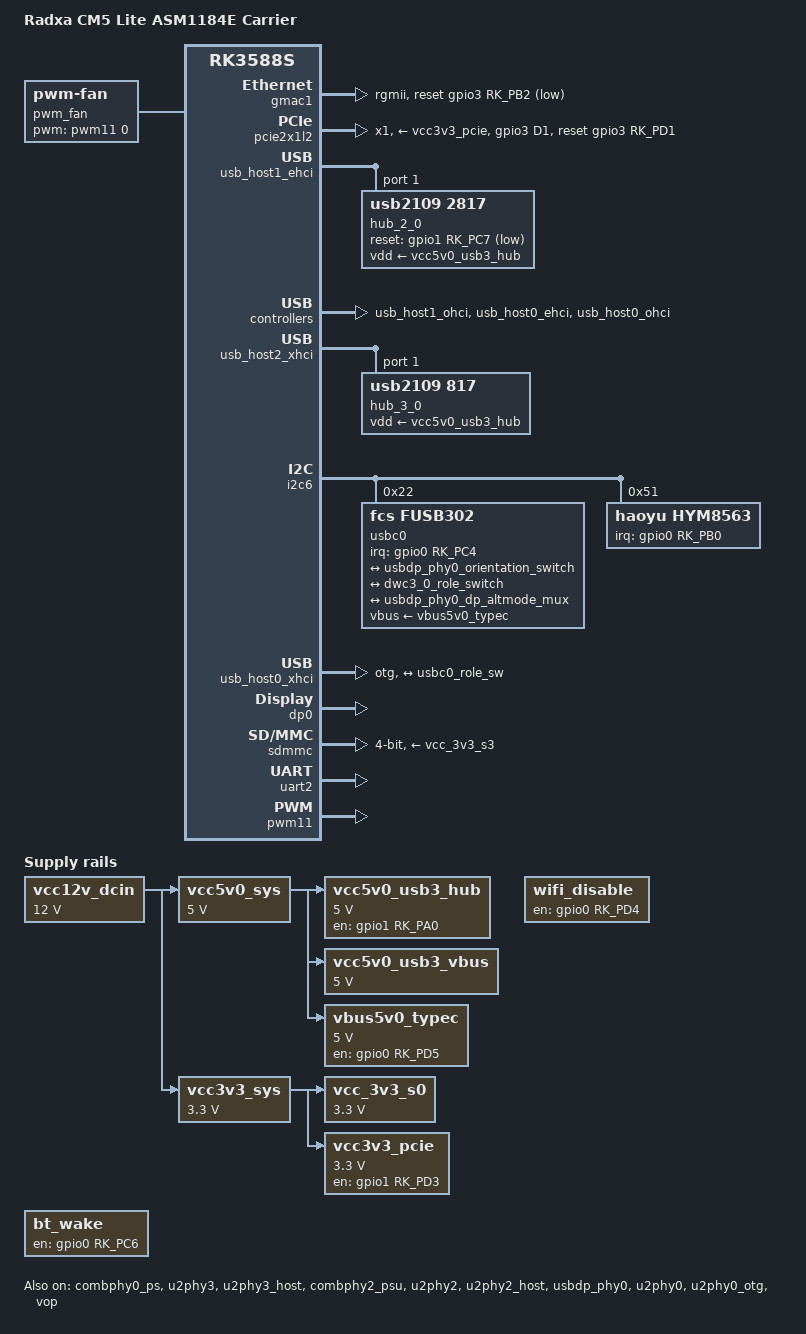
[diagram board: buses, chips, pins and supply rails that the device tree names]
// SPDX-License-Identifier: (GPL-2.0+ OR MIT)
/*
 * Radxa CM5 Lite (RK3582 / 4GB LPDDR4X / 32GB eMMC / onboard RTL8211F)
 * custom carrier board
 *
 * This variant targets mainline Linux 6.18 (ImmortalWrt) and therefore
 * uses the upstream label names, not the Radxa 6.1 BSP ones:
 *   - usb_host0_xhci    (was usbdrd3_0 / usbdrd_dwc3_0, USB3 OTG0)
 *   - usb_host2_xhci    (was usbhost3_0 / usbhost_dwc3_0, USB3 host1)
 *   - usb_host1_ehci/ohci (USB2 companion, u2phy3)
 *   - dp0_in / vp2_out_dp0 endpoints instead of the vendor route_dp0 node
 *
 *            +-------------------------------------------------------+
 *            |                    Radxa CM5 Lite                    |
 *            |  RK3582 (RK3588S pin-compatible)                      |
 *            +-------------------------------------------------------+
 *              |                |                    |
 *   GMAC1+RTL8211F      PCIe2.0 x1 (l2)      USB3 host1 (usb_host2_xhci)
 *              |                |                    |
 *            RJ45         ASM1184E (1:4)         VL817-Q7 (1:4)
 *                           /  |  |  \                 / | | \
 *                   8125B --+  |  |  +-- 8125B      USB3 x4
 *                              |  |
 *                     M.2 E-key  M.2 B-key
 *                       (Wi-Fi)    (5G)
 *
 *   USB3.0 OTG0 + USBDP PHY0  ->  Type-C (USB3 + DP alt-mode, FUSB302)
 *
 * Board inventory confirmed from the uploaded photos:
 *   - Radxa CM5 V2.2 module, RK3582 + SK hynix 4GB LPDDR4X, 32GB eMMC
 *   - 1x LPJG0926HENL MagJack (2.5G-rated, used by the onboard RTL8211F 1G)
 *   - 4x USB3 Type-A (VL817-Q7), 1x Type-C (TypeC1, USB3 + DP), no HDMI
 *   - 2x QG2439S LAN transformers + 2x RTL8125B, dual RJ45 on the 5G HAT
 *   - ROBOX_5GHAT 26B_V2: Fibocom FM160-CN (PCIe 5G) + MT7922 (PCIe Wi-Fi)
 *   - microSD slot, DC input silkscreen "DC7-24V"
 *
 * Notes:
 *   1. ASM1184E is a standard PCIe bridge. PCIe switches and the devices
 *      behind them are fully enumerable, therefore NO device tree node is
 *      required for the switch, the RTL8125B PHYs, the Wi-Fi or the 5G
 *      module. Only the upstream root complex (pcie2x1l2) is described.
 *   2. GPIO numbers below are a reference assignment copied from the Radxa
 *      CM5 IO design. They MUST be changed to match the real carrier
 *      schematic.
 *   3. Build (OpenWrt/ImmortalWrt): put this file and
 *      rk3588s-radxa-cm5.dtsi into
 *        target/linux/rockchip/files/arch/arm64/boot/dts/rockchip/
 *      and set DEVICE_DTS := rk3588s-radxa-cm5-lite-asm1184e
 *      in target/linux/rockchip/image/armv8.mk.
 */

/dts-v1/;

#include <dt-bindings/gpio/gpio.h>
#include <dt-bindings/interrupt-controller/irq.h>
#include <dt-bindings/pinctrl/rockchip.h>
#include <dt-bindings/soc/rockchip,vop2.h>
#include <dt-bindings/usb/pd.h>
#include "rk3588s.dtsi"
#include "rk3588s-radxa-cm5.dtsi"

/ {
	model = "Radxa CM5 Lite ASM1184E Carrier";
	compatible = "radxa,cm5-lite-asm1184e", "radxa,cm5",
		     "rockchip,rk3582", "rockchip,rk3588s";

	aliases {
		ethernet0 = &gmac1;
		mmc0 = &sdhci;
		mmc1 = &sdmmc;
		rtc0 = &hym8563;
	};

	chosen {
		stdout-path = "serial2:1500000n8";
	};

	/*
	 * Power tree
	 *
	 * DC input silkscreen is "DC7-24V" (2-pin). It is modelled as a
	 * fixed 12V nominal source; the on-board buck generates 5V.
	 */
	vcc12v_dcin: regulator-vcc12v-dcin {
		compatible = "regulator-fixed";
		regulator-name = "vcc_dcin";
		regulator-always-on;
		regulator-boot-on;
		regulator-min-microvolt = <12000000>;
		regulator-max-microvolt = <12000000>;
	};

	vcc5v0_sys: regulator-vcc5v0-sys {
		compatible = "regulator-fixed";
		regulator-name = "vcc5v0_sys";
		regulator-always-on;
		regulator-boot-on;
		regulator-min-microvolt = <5000000>;
		regulator-max-microvolt = <5000000>;
		vin-supply = <&vcc12v_dcin>;
	};

	vcc3v3_sys: regulator-vcc3v3-sys {
		compatible = "regulator-fixed";
		regulator-name = "vcc3v3_sys";
		regulator-always-on;
		regulator-boot-on;
		regulator-min-microvolt = <3300000>;
		regulator-max-microvolt = <3300000>;
		vin-supply = <&vcc12v_dcin>;
	};

	/* 3.3V reference used by &gmac1 (phy-supply) on the CM5 module. */
	vcc_3v3_s0: regulator-vcc-3v3-s0 {
		compatible = "regulator-fixed";
		regulator-name = "vcc_3v3_s0";
		regulator-always-on;
		regulator-boot-on;
		regulator-min-microvolt = <3300000>;
		regulator-max-microvolt = <3300000>;
		vin-supply = <&vcc3v3_sys>;
	};

	/*
	 * 3.3V rail of ASM1184E + RTL8125B #1/#2 + M.2 E-key/B-key.
	 *
	 * Keep this rail alive: a PCIe switch must never lose power while the
	 * root complex is running. The GPIO only performs the initial power-up
	 * sequencing, hence "regulator-always-on".
	 */
	vcc3v3_pcie: regulator-vcc3v3-pcie {
		compatible = "regulator-fixed";
		regulator-name = "vcc3v3_pcie";
		regulator-min-microvolt = <3300000>;
		regulator-max-microvolt = <3300000>;
		gpios = <&gpio1 RK_PD3 GPIO_ACTIVE_HIGH>;
		pinctrl-names = "default";
		pinctrl-0 = <&vcc3v3_pcie_en>;
		enable-active-high;
		startup-delay-us = <100000>;
		regulator-boot-on;
		regulator-always-on;
		vin-supply = <&vcc3v3_sys>;
	};

	/* 5V for VL817-Q7 itself (hub core / internal LDOs). */
	vcc5v0_usb3_hub: regulator-vcc5v0-usb3-hub {
		compatible = "regulator-fixed";
		regulator-name = "vcc5v0_usb3_hub";
		regulator-min-microvolt = <5000000>;
		regulator-max-microvolt = <5000000>;
		gpio = <&gpio1 RK_PA0 GPIO_ACTIVE_HIGH>;
		pinctrl-names = "default";
		pinctrl-0 = <&vcc5v0_usb3_hub_en>;
		enable-active-high;
		regulator-boot-on;
		regulator-always-on;
		vin-supply = <&vcc5v0_sys>;
	};

	/*
	 * VBUS of the four downstream USB3 ports.
	 * If the board uses per-port load switches, replace this node by four
	 * GPIO-controlled regulators; the VL817 itself does not expose a DT
	 * binding for port power.
	 */
	vcc5v0_usb3_vbus: regulator-vcc5v0-usb3-vbus {
		compatible = "regulator-fixed";
		regulator-name = "vcc5v0_usb3_vbus";
		regulator-min-microvolt = <5000000>;
		regulator-max-microvolt = <5000000>;
		regulator-boot-on;
		regulator-always-on;
		vin-supply = <&vcc5v0_sys>;
	};

	/* Type-C port VBUS (FUSB302 controls it). */
	vbus5v0_typec: regulator-vbus5v0-typec {
		compatible = "regulator-fixed";
		regulator-name = "vbus5v0_typec";
		regulator-min-microvolt = <5000000>;
		regulator-max-microvolt = <5000000>;
		gpio = <&gpio0 RK_PD5 GPIO_ACTIVE_HIGH>;
		pinctrl-names = "default";
		pinctrl-0 = <&vbus5v0_typec_en>;
		enable-active-high;
		vin-supply = <&vcc5v0_sys>;
	};

	/*
	 * The measurements taken from the running device (vendor live DTS)
	 * show two always-on control lines for the M.2 E-key Wi-Fi module.
	 * Both are driven high at boot, matching the vendor firmware.
	 */
	wifi_disable: regulator-wifi-disable {
		compatible = "regulator-fixed";
		regulator-name = "wifi_disable";
		gpio = <&gpio0 RK_PD4 GPIO_ACTIVE_HIGH>;
		enable-active-high;
		regulator-boot-on;
		regulator-always-on;
	};

	bt_wake: regulator-bt-wake {
		compatible = "regulator-fixed";
		regulator-name = "bt_wake";
		gpio = <&gpio0 RK_PC6 GPIO_ACTIVE_HIGH>;
		enable-active-high;
		regulator-boot-on;
		regulator-always-on;
	};

	/* Carrier fan, PWM11 channel 0 on GPIO3_PD5 (pwm11m3). */
	pwm_fan: pwm-fan {
		compatible = "pwm-fan";
		#cooling-cells = <2>;
		cooling-levels = <0 64 128 192 255>;
		pwms = <&pwm11 0 60000 0>;
		status = "okay";
	};
};

/*
 * RK3582: no GPU.
 */
&gpu {
	status = "disabled";
};

/*
 * Onboard RTL8211F (1x GbE).
 *
 * The timing below is taken from the live vendor DTS of this board:
 * RGMII delays are inserted by the MAC (tx 0x41 / rx 0x3a), the PHY is
 * kept in plain "rgmii" mode, and PHY reset is GPIO3_PB2 active low.
 */
&gmac1 {
	status = "okay";
	phy-mode = "rgmii";
	tx_delay = <0x41>;
	rx_delay = <0x3a>;
	snps,reset-gpio = <&gpio3 RK_PB2 GPIO_ACTIVE_LOW>;
	snps,reset-active-low;
	snps,reset-delays-us = <0 20000 100000>;
};

/*
 * PCIe: pcie2x1l2 (combphy0_ps) -> ASM1184E upstream port
 *
 * ASM1184E downstream port map (fixed by the PCIe topology, not by DT):
 *   port 1 -> RTL8125B #1  (2.5GbE, r8169)
 *   port 2 -> RTL8125B #2  (2.5GbE, r8169)
 *   port 3 -> M.2 E-key    (MT7922 Wi-Fi, PCIe Gen2 x1)
 *   port 4 -> M.2 B-key    (Fibocom FM160-CN 5G)
 *
 * FM160-CN supports BOTH PCIe 4.0 and USB3.1/USB2.0. This file assumes
 * the PCIe variant is wired to ASM1184E port 4. If the board routes USB
 * instead, port 4 stays empty and the module must be described as a USB
 * device on the VL817/dedicated USB3 host.
 *
 * Bandwidth warning: ASM1184E is PCIe 2.0, upstream 1 lane = 5 GT/s
 * (~500 MB/s per direction after 8b/10b). Two 2.5GbE ports at full
 * duplex already need ~625 MB/s per direction, so the four downstream
 * ports share one oversubscribed uplink. FM160-CN itself is PCIe 4.0 and
 * will train down to Gen2 x1.
 *
 * pcie2x1l2 shares combphy0_ps with sata0, therefore sata0 must stay
 * disabled (it is disabled by default).
 */
&pcie2x1l2 {
	pinctrl-names = "default";
	pinctrl-0 = <&pcie2x1l2_rst>;
	reset-gpios = <&gpio3 RK_PD1 GPIO_ACTIVE_HIGH>;
	vpcie3v3-supply = <&vcc3v3_pcie>;
	/*
	 * The 5G modem (MTK T700) exposes an 8 MiB non-prefetchable BAR that
	 * needs 8 MiB alignment. With the default 14 MiB window
	 * (0xf4200000..0xf4ffffff) the resource allocator cannot place it
	 * once the modem is fitted, so the RTL8125B BARs are left unassigned
	 * ("region #1 not an MMIO resource") and both 2.5G ports disappear.
	 * No other PCIe controller is enabled on this carrier, so the window
	 * can be extended to 32 MiB.
	 */
	ranges = <0x01000000 0x0 0xf4100000 0x0 0xf4100000 0x0 0x00100000>,
		 <0x02000000 0x0 0xf4200000 0x0 0xf4200000 0x0 0x02000000>,
		 <0x03000000 0x0 0x40000000 0xa 0x0 0x0 0x40000000>;
	/* ASM1184E is a PCIe 2.0 x1 switch. */
	max-link-speed = <2>;
	num-lanes = <1>;
	status = "okay";
};

&combphy0_ps {
	status = "okay";
};

/*
 * USB 3.1 Gen1 hub: VL817-Q7 (4 downstream ports)
 *
 * The CM5 connector routes the USB3 host port (USB30_2 / "USB3_HOST1")
 * together with USB20_HOST1:
 *   - USB 3.0 part (2109:0817) under usb_host2_xhci (combphy2_psu)
 *   - USB 2.0 part (2109:2817) under usb_host1_ehci/ohci (u2phy3)
 * Both nodes are linked through "peer-hub".
 *
 * reset-gpios is intentionally only present on the USB2 node: the two
 * nodes are two platform devices for the same physical chip, and the
 * kernel gpio consumer API is exclusive, so claiming the same RESET#
 * GPIO twice would fail. One toggle resets the whole VL817.
 */
&usb_host1_ehci {
	status = "okay";
	#address-cells = <1>;
	#size-cells = <0>;

	hub_2_0: hub@1 {
		compatible = "usb2109,2817";
		reg = <1>;
		vdd-supply = <&vcc5v0_usb3_hub>;
		peer-hub = <&hub_3_0>;
		reset-gpios = <&gpio1 RK_PC7 GPIO_ACTIVE_LOW>;
		pinctrl-names = "default";
		pinctrl-0 = <&usb3_hub_rst>;
	};
};

&usb_host1_ohci {
	status = "okay";
};

&usb_host2_xhci {
	status = "okay";
	#address-cells = <1>;
	#size-cells = <0>;

	hub_3_0: hub@1 {
		compatible = "usb2109,817";
		reg = <1>;
		vdd-supply = <&vcc5v0_usb3_hub>;
		peer-hub = <&hub_2_0>;
	};
};

/*
 * USB2 PHY used as the USB2 companion of the USB3 host port.
 */
&u2phy3 {
	status = "okay";
};

&u2phy3_host {
	status = "okay";
};

&combphy2_psu {
	status = "okay";
};

/*
 * M.2 E-key Wi-Fi: MediaTek MT7922 (MT7922AEA).
 * PCIe side is enumerated behind ASM1184E; Bluetooth is a USB2 device and
 * must land on a USB2 host. USB2 host1 is already used by the VL817, OTG0
 * by Type-C, so host0 is the remaining candidate.
 * VERIFY on the schematic: if BT is wired to a VL817 downstream port,
 * delete this block.
 */
&u2phy2 {
	status = "okay";
};

&u2phy2_host {
	status = "okay";
};

&usb_host0_ehci {
	status = "okay";
};

&usb_host0_ohci {
	status = "okay";
};

/*
 * Type-C + DP alt-mode
 */
&i2c6 {
	status = "okay";
	pinctrl-names = "default";
	pinctrl-0 = <&i2c6m3_xfer>;

	usbc0: usb-typec@22 {
		compatible = "fcs,fusb302";
		reg = <0x22>;
		interrupt-parent = <&gpio0>;
		interrupts = <RK_PC4 IRQ_TYPE_LEVEL_LOW>;
		pinctrl-names = "default";
		pinctrl-0 = <&usbc0_int>;
		vbus-supply = <&vbus5v0_typec>;
		status = "okay";

		connector {
			compatible = "usb-c-connector";
			label = "USB-C";
			data-role = "dual";
			power-role = "dual";
			try-power-role = "sink";
			op-sink-microwatt = <1000000>;

			sink-pdos = <PDO_FIXED(5000, 1000, PDO_FIXED_USB_COMM)>;
			source-pdos = <PDO_FIXED(5000, 3000, PDO_FIXED_USB_COMM)>;

			altmodes {
				#address-cells = <1>;
				#size-cells = <0>;

				altmode@0 {
					reg = <0>;
					svid = <0xff01>;
					vdo = <0xffffffff>;
				};
			};

			ports {
				#address-cells = <1>;
				#size-cells = <0>;

				port@0 {
					reg = <0>;

					usbc0_orien_sw: endpoint {
						remote-endpoint = <&usbdp_phy0_orientation_switch>;
					};
				};

				port@1 {
					reg = <1>;

					usbc0_role_sw: endpoint {
						remote-endpoint = <&dwc3_0_role_switch>;
					};
				};

				port@2 {
					reg = <2>;

					dp_altmode_mux: endpoint {
						remote-endpoint = <&usbdp_phy0_dp_altmode_mux>;
					};
				};
			};
		};
	};

	hym8563: rtc@51 {
		compatible = "haoyu,hym8563";
		reg = <0x51>;
		#clock-cells = <0>;
		clock-output-names = "hym8563";
		interrupt-parent = <&gpio0>;
		interrupts = <RK_PB0 IRQ_TYPE_LEVEL_LOW>;
		pinctrl-names = "default";
		pinctrl-0 = <&rtc_int_l>;
		wakeup-source;
	};
};

&usbdp_phy0 {
	status = "okay";
	mode-switch;
	orientation-switch;
	sbu1-dc-gpios = <&gpio3 RK_PC4 GPIO_ACTIVE_HIGH>;
	sbu2-dc-gpios = <&gpio3 RK_PD4 GPIO_ACTIVE_HIGH>;

	port {
		#address-cells = <1>;
		#size-cells = <0>;

		usbdp_phy0_orientation_switch: endpoint@0 {
			reg = <0>;
			remote-endpoint = <&usbc0_orien_sw>;
		};

		usbdp_phy0_dp_altmode_mux: endpoint@1 {
			reg = <1>;
			remote-endpoint = <&dp_altmode_mux>;
		};
	};
};

&usb_host0_xhci {
	dr_mode = "otg";
	usb-role-switch;
	status = "okay";

	port {
		#address-cells = <1>;
		#size-cells = <0>;

		dwc3_0_role_switch: endpoint@0 {
			reg = <0>;
			remote-endpoint = <&usbc0_role_sw>;
		};
	};
};

&u2phy0 {
	status = "okay";
};

&u2phy0_otg {
	status = "okay";
};

/*
 * DisplayPort over the Type-C connector. mainline 6.18 has no
 * "route_dp0" node any more, the VOP2 port is connected through the OF
 * graph: vp2 -> dp0 -> usbdp_phy0 -> Type-C mux.
 */
&dp0 {
	status = "okay";
};

&dp0_in {
	dp0_in_vp2: endpoint {
		remote-endpoint = <&vp2_out_dp0>;
	};
};

&vop {
	status = "okay";
};

&vop_mmu {
	status = "okay";
};

&vp2 {
	vp2_out_dp0: endpoint@a {
		reg = <ROCKCHIP_VOP2_EP_DP0>;
		remote-endpoint = <&dp0_in_vp2>;
	};
};

/*
 * This carrier has no HDMI, only DP over Type-C.
 */
&hdmi0 {
	status = "disabled";
};

/*
 * microSD slot on the carrier (visible on the bottom-side photo).
 * This is also the boot device of the OpenWrt image.
 */
&sdmmc {
	bus-width = <4>;
	cap-mmc-highspeed;
	cap-sd-highspeed;
	disable-wp;
	no-sdio;
	no-mmc;
	sd-uhs-sdr104;
	max-frequency = <200000000>;
	pinctrl-names = "default";
	pinctrl-0 = <&sdmmc_bus4 &sdmmc_clk &sdmmc_cmd &sdmmc_det>;
	vmmc-supply = <&vcc_3v3_s3>;
	vqmmc-supply = <&vccio_sd_s0>;
	status = "okay";
};

/*
 * Serial console (CM5 IO uses uart2m0 at 1500000n8).
 */
&uart2 {
	pinctrl-names = "default";
	pinctrl-0 = <&uart2m0_xfer>;
	status = "okay";
};

/* Fan PWM, wired to GPIO3_PD5 (pwm11m3) on the carrier. */
&pwm11 {
	pinctrl-names = "active";
	pinctrl-0 = <&pwm11m3_pins>;
	status = "okay";
};

/*
 * Pin mux for the carrier control signals.
 * Adjust the GPIO numbers to the real schematic.
 */
&pinctrl {
	pcie {
		pcie2x1l2_rst: pcie2x1l2-rst {
			rockchip,pins = <3 RK_PD1 RK_FUNC_GPIO &pcfg_pull_none>;
		};

		vcc3v3_pcie_en: vcc3v3-pcie-en {
			rockchip,pins = <1 RK_PD3 RK_FUNC_GPIO &pcfg_pull_none>;
		};
	};

	usb {
		vcc5v0_usb3_hub_en: vcc5v0-usb3-hub-en {
			rockchip,pins = <1 RK_PA0 RK_FUNC_GPIO &pcfg_pull_none>;
		};

		usb3_hub_rst: usb3-hub-rst {
			rockchip,pins = <1 RK_PC7 RK_FUNC_GPIO &pcfg_pull_up>;
		};
	};

	typec {
		vbus5v0_typec_en: vbus5v0-typec-en {
			rockchip,pins = <0 RK_PD5 RK_FUNC_GPIO &pcfg_pull_none>;
		};

		usbc0_int: usbc0-int {
			rockchip,pins = <0 RK_PC4 RK_FUNC_GPIO &pcfg_pull_up>;
		};
	};

	rtc {
		rtc_int_l: rtc-int-l {
			rockchip,pins = <0 RK_PB0 RK_FUNC_GPIO &pcfg_pull_up>;
		};
	};
};
